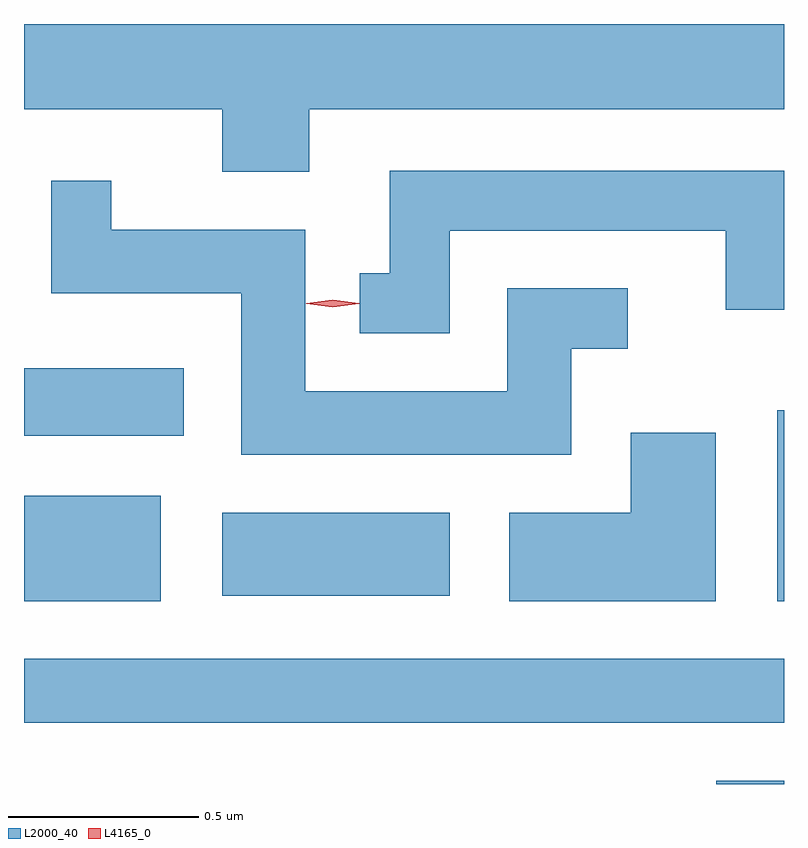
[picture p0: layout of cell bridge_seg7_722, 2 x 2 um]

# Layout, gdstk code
import gdstk
lib = gdstk.Library(unit=1e-6, precision=1e-09)
def R(c, l, rs):  # rectangles x0, y0, x1, y1
    for r in rs: c.add(gdstk.rectangle(r[:2], r[2:], *l))
def P(c, l, *ps):  # polygons
    for p in ps: c.add(gdstk.Polygon(p, *l))
L2000_40 = (2000, 40)
L4165_0 = (4165, 0)

bridge_seg7_722 = lib.new_cell('bridge_seg7_722')
R(bridge_seg7_722, L2000_40, [(884.401,1721.42,884.579,1721.429), (882.579,1721.581,884.579,1721.749), (882.579,1721.901,882.939,1722.179), (884.561,1721.901,884.579,1722.404), (883.101,1721.916,883.699,1722.134), (882.579,1722.336,882.999,1722.514)])
P(bridge_seg7_722, L2000_40, [(883.329,1723.196),(884.579,1723.196),(884.579,1723.42),(882.579,1723.42),(882.579,1723.196),(883.101,1723.196),(883.101,1723.031),(883.329,1723.031)],
  [(883.699,1722.876),(884.426,1722.876),(884.426,1722.668),(884.579,1722.668),(884.579,1723.034),(883.541,1723.034),(883.541,1722.764),(883.463,1722.764),(883.463,1722.606),(883.699,1722.606)],
  [(884.019,1722.566),(884.168,1722.566),(884.168,1722.724),(883.851,1722.724),(883.851,1722.454),(883.319,1722.454),(883.319,1722.879),(882.809,1722.879),(882.809,1723.008),(882.651,1723.008),(882.651,1722.711),(883.151,1722.711),(883.151,1722.286),(884.019,1722.286)],
  [(884.399,1722.344),(884.176,1722.344),(884.176,1722.134),(883.856,1722.134),(883.856,1721.901),(884.399,1721.901)])
P(bridge_seg7_722, L4165_0, [(883.392,1722.675),(883.322,1722.684),(883.322,1722.684),(883.322,1722.685),(883.392,1722.694),(883.461,1722.685),(883.461,1722.685),(883.461,1722.684)])

lib.write_gds('bridge_seg7_722.gds')
